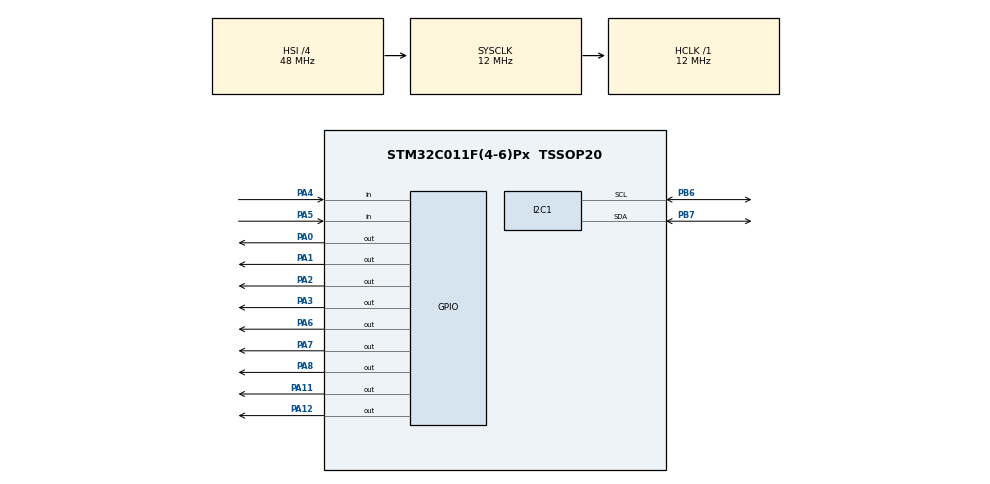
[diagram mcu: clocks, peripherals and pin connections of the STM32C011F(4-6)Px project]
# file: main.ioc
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I2C1.OwnAddress=0x32
I2C1.Timing=0x00402D41
Mcu.Family=STM32C0
Mcu.Name=STM32C011F(4-6)Px
Mcu.Package=TSSOP20
NVIC.I2C1_IRQn=true\:0\:0\:false\:false\:true\:true\:true\:true
PA0.Signal=GPIO_Output
PA1.Signal=GPIO_Output
PA11\ [PA9].Signal=GPIO_Output
PA12\ [PA10].Signal=GPIO_Output
PA13.Mode=Serial_Wire
PA13.Signal=DEBUG_SWDIO
PA14-BOOT0.Mode=Serial_Wire
PA14-BOOT0.Signal=DEBUG_SWCLK
PA2.Signal=GPIO_Output
PA3.Signal=GPIO_Output
PA4.Signal=GPIO_Input
PA5.Signal=GPIO_Input
PA6.Signal=GPIO_Output
PA7.Signal=GPIO_Output
PA8.Signal=GPIO_Output
PB6.Mode=I2C
PB6.Signal=I2C1_SCL
PB7.Mode=I2C
PB7.Signal=I2C1_SDA
PC14-OSCX_IN\ (PC14).Signal=RCC_OSCX_IN
PC15-OSCX_OUT\ (PC15).Signal=RCC_OSCX_OUT
ProjectManager.HeapSize=0x200
ProjectManager.StackSize=0x400
ProjectManager.TargetToolchain=STM32CubeIDE
RCC.ADCFreq_Value=12000000
RCC.AHBFreq_Value=12000000
RCC.CortexFreq_Value=12000000
RCC.EXTERNAL_CLOCK_VALUE=12288000
RCC.HCLKFreq_Value=12000000
RCC.HSE_VALUE=8000000
RCC.HSI_VALUE=48000000
RCC.LSE_VALUE=32768
RCC.SYSCLKFreq_VALUE=12000000
TIM1.Prescaler=71
TIM3.Prescaler=15
VP_TIM1_VS_ClockSourceINT.Mode=Internal
VP_TIM3_VS_ClockSourceINT.Mode=Internal
board=custom

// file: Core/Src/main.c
/* USER CODE BEGIN Header */
/**
  ******************************************************************************
  * @file           : main.c
  * @brief          : Main program body
  ******************************************************************************
  * @attention
  *
  * Copyright (c) 2025 STMicroelectronics.
  * All rights reserved.
  *
  * This software is licensed under terms that can be found in the LICENSE file
  * in the root directory of this software component.
  * If no LICENSE file comes with this software, it is provided AS-IS.
  *
  ******************************************************************************
  */

#include "initial_operation.h"
#include "connection.h"
/* USER CODE END Header */
#include "main.h"

/* USER CODE BEGIN PD */
#define MOTOR_STEPS 2048
/* USER CODE END PD */

I2C_HandleTypeDef hi2c1;

TIM_HandleTypeDef htim1;
TIM_HandleTypeDef htim3;

/* USER CODE BEGIN PV */
char flag = 'n';
uint8_t instruction;
/* USER CODE END PV */

void SystemClock_Config(void);
static void MX_GPIO_Init(void);
static void MX_I2C1_Init(void);
static void MX_TIM1_Init(void);
static void MX_TIM3_Init(void);
/* USER CODE BEGIN PFP */
void HAL_I2C_ErrorCallback(I2C_HandleTypeDef *hi2c);
void HAL_I2C_SlaveTxCpltCallback(I2C_HandleTypeDef *hi2c);
void HAL_I2C_SlaveRxCpltCallback(I2C_HandleTypeDef *hi2c);
void HAL_I2C_ErrorCallback(I2C_HandleTypeDef *hi2c);
/* USER CODE END PFP */

int main(void)
{

  /* MCU Configuration--------------------------------------------------------*/

  /* Reset of all peripherals, Initializes the Flash interface and the Systick. */
  HAL_Init();

  /* Configure the system clock */
  SystemClock_Config();

  /* Initialize all configured peripherals */
  MX_GPIO_Init();
  MX_I2C1_Init();
  MX_TIM1_Init();
  MX_TIM3_Init();
  /* USER CODE BEGIN 2 */
  HAL_GPIO_WritePin(GPIOA, GPIO_PIN_6,GPIO_PIN_SET);//VCC
  HAL_GPIO_WritePin(GPIOA, GPIO_PIN_7,GPIO_PIN_RESET);//GND

  HAL_I2C_Slave_Receive_IT(&hi2c1, &instruction, sizeof(instruction));

  /* USER CODE END 2 */

  /* Infinite loop */
  /* USER CODE BEGIN WHILE */
  while (1)
  {
	  /*
	  move_clockwise(256, 1000);  // 256 half revolution
	  HAL_Delay(100);
	  move_anticlockwise(128, 1000); // 128 quarter revolution
	  HAL_Delay(100);
	  */
	  if(flag == 'y'){
		  do_instruction(0,instruction);
		  flag = 'n';
	  }
	  HAL_GPIO_TogglePin(GPIOA, GPIO_PIN_8);
	  //if(nack_count >= 10){
		  //HAL_NVIC_SystemReset();
	  //}
	  HAL_Delay(100);

    /* USER CODE END WHILE */

  }
}

void SystemClock_Config(void)
{
  RCC_OscInitTypeDef RCC_OscInitStruct = {0};
  RCC_ClkInitTypeDef RCC_ClkInitStruct = {0};

  __HAL_FLASH_SET_LATENCY(FLASH_LATENCY_0);

  /** Initializes the RCC Oscillators according to the specified parameters
  * in the RCC_OscInitTypeDef structure.
  */
  RCC_OscInitStruct.OscillatorType = RCC_OSCILLATORTYPE_HSI;
  RCC_OscInitStruct.HSIState = RCC_HSI_ON;
  RCC_OscInitStruct.HSIDiv = RCC_HSI_DIV4;
  RCC_OscInitStruct.HSICalibrationValue = RCC_HSICALIBRATION_DEFAULT;
  if (HAL_RCC_OscConfig(&RCC_OscInitStruct) != HAL_OK)
  {
    Error_Handler();
  }

  /** Initializes the CPU, AHB and APB buses clocks
  */
  RCC_ClkInitStruct.ClockType = RCC_CLOCKTYPE_HCLK|RCC_CLOCKTYPE_SYSCLK
                              |RCC_CLOCKTYPE_PCLK1;
  RCC_ClkInitStruct.SYSCLKSource = RCC_SYSCLKSOURCE_HSI;
  RCC_ClkInitStruct.SYSCLKDivider = RCC_SYSCLK_DIV1;
  RCC_ClkInitStruct.AHBCLKDivider = RCC_HCLK_DIV1;
  RCC_ClkInitStruct.APB1CLKDivider = RCC_APB1_DIV1;

  if (HAL_RCC_ClockConfig(&RCC_ClkInitStruct, FLASH_LATENCY_0) != HAL_OK)
  {
    Error_Handler();
  }
}

static void MX_I2C1_Init(void)
{

  hi2c1.Instance = I2C1;
  hi2c1.Init.Timing = 0x00402D41;
  hi2c1.Init.OwnAddress1 = 100;
  hi2c1.Init.AddressingMode = I2C_ADDRESSINGMODE_7BIT;
  hi2c1.Init.DualAddressMode = I2C_DUALADDRESS_DISABLE;
  hi2c1.Init.OwnAddress2 = 0;
  hi2c1.Init.OwnAddress2Masks = I2C_OA2_NOMASK;
  hi2c1.Init.GeneralCallMode = I2C_GENERALCALL_DISABLE;
  hi2c1.Init.NoStretchMode = I2C_NOSTRETCH_DISABLE;
  if (HAL_I2C_Init(&hi2c1) != HAL_OK)
  {
    Error_Handler();
  }

  /** Configure Analogue filter
  */
  if (HAL_I2CEx_ConfigAnalogFilter(&hi2c1, I2C_ANALOGFILTER_ENABLE) != HAL_OK)
  {
    Error_Handler();
  }

  /** Configure Digital filter
  */
  if (HAL_I2CEx_ConfigDigitalFilter(&hi2c1, 0) != HAL_OK)
  {
    Error_Handler();
  }
  /* USER CODE BEGIN I2C1_Init 2 */
  HAL_NVIC_SetPriority(I2C1_IRQn, 1, 0);
  HAL_NVIC_EnableIRQ(I2C1_IRQn);
  /* USER CODE END I2C1_Init 2 */

}

static void MX_TIM1_Init(void)
{

  TIM_ClockConfigTypeDef sClockSourceConfig = {0};
  TIM_MasterConfigTypeDef sMasterConfig = {0};

  htim1.Instance = TIM1;
  htim1.Init.Prescaler = 71;
  htim1.Init.CounterMode = TIM_COUNTERMODE_UP;
  htim1.Init.Period = 65535;
  htim1.Init.ClockDivision = TIM_CLOCKDIVISION_DIV1;
  htim1.Init.RepetitionCounter = 0;
  htim1.Init.AutoReloadPreload = TIM_AUTORELOAD_PRELOAD_DISABLE;
  if (HAL_TIM_Base_Init(&htim1) != HAL_OK)
  {
    Error_Handler();
  }
  sClockSourceConfig.ClockSource = TIM_CLOCKSOURCE_INTERNAL;
  if (HAL_TIM_ConfigClockSource(&htim1, &sClockSourceConfig) != HAL_OK)
  {
    Error_Handler();
  }
  sMasterConfig.MasterOutputTrigger = TIM_TRGO_RESET;
  sMasterConfig.MasterOutputTrigger2 = TIM_TRGO2_RESET;
  sMasterConfig.MasterSlaveMode = TIM_MASTERSLAVEMODE_DISABLE;
  if (HAL_TIMEx_MasterConfigSynchronization(&htim1, &sMasterConfig) != HAL_OK)
  {
    Error_Handler();
  }

}

static void MX_TIM3_Init(void)
{

  TIM_ClockConfigTypeDef sClockSourceConfig = {0};
  TIM_MasterConfigTypeDef sMasterConfig = {0};

  htim3.Instance = TIM3;
  htim3.Init.Prescaler = 15;
  htim3.Init.CounterMode = TIM_COUNTERMODE_UP;
  htim3.Init.Period = 65535;
  htim3.Init.ClockDivision = TIM_CLOCKDIVISION_DIV1;
  htim3.Init.AutoReloadPreload = TIM_AUTORELOAD_PRELOAD_DISABLE;
  if (HAL_TIM_Base_Init(&htim3) != HAL_OK)
  {
    Error_Handler();
  }
  sClockSourceConfig.ClockSource = TIM_CLOCKSOURCE_INTERNAL;
  if (HAL_TIM_ConfigClockSource(&htim3, &sClockSourceConfig) != HAL_OK)
  {
    Error_Handler();
  }
  sMasterConfig.MasterOutputTrigger = TIM_TRGO_RESET;
  sMasterConfig.MasterSlaveMode = TIM_MASTERSLAVEMODE_DISABLE;
  if (HAL_TIMEx_MasterConfigSynchronization(&htim3, &sMasterConfig) != HAL_OK)
  {
    Error_Handler();
  }
  /* USER CODE BEGIN TIM3_Init 2 */
  HAL_TIM_Base_Start(&htim3);
  /* USER CODE END TIM3_Init 2 */

}

static void MX_GPIO_Init(void)
{
  GPIO_InitTypeDef GPIO_InitStruct = {0};

  /* GPIO Ports Clock Enable */
  __HAL_RCC_GPIOB_CLK_ENABLE();
  __HAL_RCC_GPIOC_CLK_ENABLE();
  __HAL_RCC_GPIOA_CLK_ENABLE();

  /*Configure GPIO pin Output Level */
  HAL_GPIO_WritePin(GPIOA, GPIO_PIN_0|GPIO_PIN_1|GPIO_PIN_2|GPIO_PIN_3
                          |GPIO_PIN_6|GPIO_PIN_7|GPIO_PIN_8|GPIO_PIN_11
                          |GPIO_PIN_12, GPIO_PIN_RESET);

  /*Configure GPIO pins : PA0 PA1 PA2 PA3
                           PA6 PA7 PA8 PA11
                           PA12 */
  GPIO_InitStruct.Pin = GPIO_PIN_0|GPIO_PIN_1|GPIO_PIN_2|GPIO_PIN_3
                          |GPIO_PIN_6|GPIO_PIN_7|GPIO_PIN_8|GPIO_PIN_11
                          |GPIO_PIN_12;
  GPIO_InitStruct.Mode = GPIO_MODE_OUTPUT_PP;
  GPIO_InitStruct.Pull = GPIO_NOPULL;
  GPIO_InitStruct.Speed = GPIO_SPEED_FREQ_LOW;
  HAL_GPIO_Init(GPIOA, &GPIO_InitStruct);

  /*Configure GPIO pins : PA4 PA5 */
  GPIO_InitStruct.Pin = GPIO_PIN_4|GPIO_PIN_5;
  GPIO_InitStruct.Mode = GPIO_MODE_INPUT;
  GPIO_InitStruct.Pull = GPIO_NOPULL;
  HAL_GPIO_Init(GPIOA, &GPIO_InitStruct);

}

/* USER CODE BEGIN 4 */
void HAL_I2C_SlaveRxCpltCallback(I2C_HandleTypeDef *hi2c)
{
    if(hi2c->Instance == I2C1)
    {
    	flag = 'y';
        HAL_I2C_Slave_Receive_IT(&hi2c1, &instruction, sizeof(instruction));
    }
}

/**
  * @brief  I2Cエラーコールバック。I2C通信でエラーが検知されると自動的に呼ばれる。
  * @param  hi2c I2Cハンドル
  * @retval None
  */
void HAL_I2C_ErrorCallback(I2C_HandleTypeDef *hi2c)
{
  // 自分の使っているI2Cペリフェラルかを確認 (例: I2C1)
  if (hi2c->Instance == I2C1)
  {
    uint32_t error_code = HAL_I2C_GetError(hi2c);
    if (error_code == HAL_I2C_ERROR_BERR) // バスエラーを検知した場合
    {
      // I2Cペリフェラルを再初期化して、不正な状態から復帰させる
      HAL_I2C_DeInit(hi2c);
      HAL_I2C_Init(hi2c); // MX_I2C1_Init() を呼んでも良い

      // もし割り込みやDMAでデータ受信待機している場合は、再度有効にする
      HAL_I2C_Slave_Receive_IT(&hi2c1, &instruction, sizeof(instruction));
      // 例: HAL_I2C_EnableListen_IT(hi2c);
    }
  }
}
/* USER CODE END 4 */

void Error_Handler(void)
{
  __disable_irq();
  while (1)
  {
  }
}
